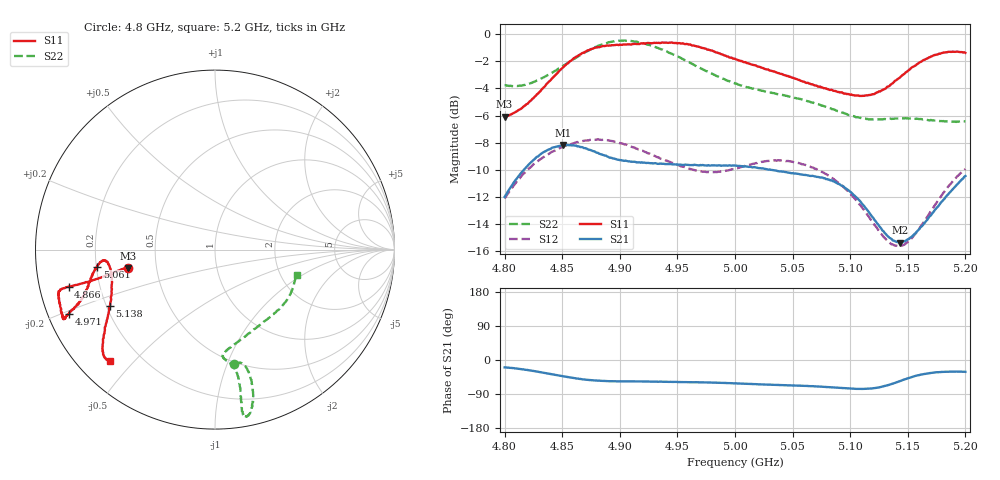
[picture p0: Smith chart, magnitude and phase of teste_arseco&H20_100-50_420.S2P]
! Network Analyzer HP8722D
! Hewlett-Packard
! Data name: Linha & Wilkinson
! Saver's name: Rodrigo Anjos
! Comments: Teste da utilização de aquisição
! continua pelo VNA HP8722D
! Time and date: 6/5/2025 16:04
!  Frequency  S11  S21  S12  S22
# HZ  S  MA R 50
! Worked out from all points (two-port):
!   401 points, 4.8 GHz to 5.2 GHz, reference 50 ohm
!   highest |S21| = -8.16 dB at 4.851 GHz (marker M1); lowest = -15.3 dB at 5.143 GHz (marker M2)
!   |S21| within 3 dB of the highest: 4.806 GHz to 5.093 GHz (286.5 MHz wide, 5.79 % of centre); 5.191929 GHz to end of sweep
!   lowest |S11| = -6.1 dB at 4.8 GHz (marker M3), VSWR 2.97, Z = 17 - j4.62 ohm
!   |S11| at or under -10 dB: nowhere
!   |S22| runs from -6.5 to -0.5 dB; largest |S21 - S12| = 0.62
!   S11 on the Smith chart (normalised r, x): 4.8 GHz: 0.34, -0.09; 4.866 GHz: 0.09, -0.12; 4.971 GHz: 0.06, -0.21; 5.061 GHz: 0.20, -0.07; 5.138 GHz: 0.21, -0.24; 5.2 GHz: 0.09, -0.43
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4.8e9  0.4964 -168.1  0.2516 -19.6  0.2483 -140.7  0.6485 -80.4
4.823e9  0.5694 -167.4  0.3376 -27.9  0.3246 -143.6  0.6599 -76.0
4.851e9  0.7562 -165.8  0.3909 -43.2  0.3855 -149.1  0.7651 -74.5
4.866e9  0.8419 -165.8  0.3834 -50.1  0.4024 -151.6  0.8383 -75.3
4.867e9  0.849 -165.8  0.3838 -50.7  0.4035 -151.9  0.843 -75.4
4.879e9  0.8904 -165.6  0.3677 -54.1  0.408 -153.9  0.896 -76.6
4.899e9  0.9095 -162.7  0.3444 -56.3  0.398 -156.5  0.9445 -79.0
4.934e9  0.9279 -156.3  0.3328 -57.4  0.3511 -155.5  0.8839 -80.4
4.971e9  0.8889 -156.3  0.3288 -59.0  0.3118 -146.4  0.745 -79.6
5e9  0.81 -159.0  0.328 -61.7  0.3199 -137.1  0.6576 -81.2
5.036e9  0.7218 -165.4  0.3139 -65.8  0.3421 -134.3  0.6016 -85.6
5.061e9  0.6632 -171.7  0.3029 -68.1  0.3299 -136.1  0.57 -84.0
5.067e9  0.6528 -173.0  0.3009 -69.0  0.3229 -136.7  0.5596 -82.6
5.082e9  0.6224 -174.6  0.2907 -71.8  0.2998 -138.1  0.5339 -77.2
5.101e9  0.5989 -172.0  0.261 -75.7  0.2559 -138.7  0.5012 -66.6
5.116e9  0.5961 -165.4  0.2218 -75.9  0.2132 -135.5  0.4849 -55.7
5.134e9  0.6434 -154.2  0.1782 -65.4  0.1709 -120.8  0.4875 -43.4
5.138e9  0.6656 -151.7  0.1736 -61.2  0.1672 -115.6  0.4874 -40.8
5.143e9  0.691 -149.1  0.1709 -56.0  0.1659 -108.9  0.4883 -38.1
5.154e9  0.7555 -144.4  0.1806 -44.4  0.1785 -95.0  0.4881 -32.3
5.173e9  0.8362 -138.7  0.2238 -33.1  0.2328 -80.7  0.4803 -24.2
5.2e9  0.8522 -133.4  0.3003 -31.3  0.3189 -76.8  0.4771 -17.5
